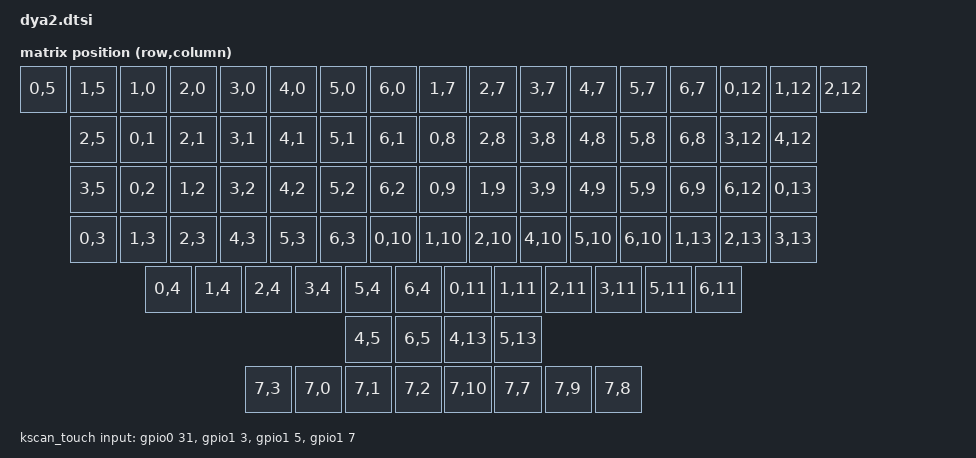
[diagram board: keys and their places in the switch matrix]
#include <behaviors/default_layer.dtsi>
#include <behaviors/animation_trigger.dtsi>

#include <dt-bindings/input/input-event-codes.h>
#include <dt-bindings/led/led.h>
#include <dt-bindings/zmk_driver_animation/animation_control.h>
#include <dt-bindings/zmk_driver_animation/animation_trigger.h>
#include <zmk_driver_animation/animation.dtsi>
#include <zmk_driver_animation/animation_layer_status.dtsi>

#include <input/processors.dtsi>
#include <input/processors/runtime-input-processor.dtsi>
#include <dt-bindings/zmk/matrix_transform.h>
#include <dt-bindings/zmk/runtime_input_processor.h>

#include "dya2-layouts.dtsi"

/ {
	chosen {
		zmk,physical-layout = &dya_layout_ansi;
		zmk,animation = &animation_control;
		zmk,animation-control = &animation_control;
	};
	
	animation: animation {
		compatible = "zmk,animation";
		drivers = <&led_strip>;
		pixels = <&pixel 0 0>,
		<&pixel 1 0>,
		<&pixel 2 0>,
		<&pixel 3 0>;
		chain-lengths = <4>;
	};
	
	animations {
		/omit-if-no-ref/ animation_control: control {
			compatible = "zmk,animation-control";
			label = "ANIMATION_CTRL_0";
			powered-animations = <&endpoint_status_animation &rainbow_animation>;
			battery-animations = <&empty_animation>;
			behavior-animations = <&battery_status_animation &endpoint_status_animation &animation_layer_status>;
			init-animation = <&init_animation>;
			activation-animation = <&battery_status_animation>;
			activation-animation-duration-ms = <1000>;
			ext-power = <&led_power>;
			default-battery-brightness = <2>;
			default-powered-brightness = <5>;
		};
		/omit-if-no-ref/ init_animation: init {
			compatible = "zmk,animation-compose";
			animations = <&battery_status_animation &black_animation &endpoint_status_animation>;
			durations-ms = <1000 200 1000>;
		};
		/omit-if-no-ref/ black_animation: black {
			compatible = "zmk,animation-solid";
			pixels = <0 1 2 3>;
			colors = <HSL(0, 0, 0)>;
		};
		
		/omit-if-no-ref/ empty_animation: empty {
			compatible = "zmk,animation-empty";
			status = "okay";
		};
		/omit-if-no-ref/ rainbow_animation: rainbow {
			compatible = "zmk,animation-solid";
			status = "okay";
			pixels = <0 1 2 3>;
			colors = <HSL(0, 100, 50) HSL(60, 100, 50) HSL(120, 100, 50) HSL(180, 100, 50) HSL(240, 100, 50) HSL(300, 100, 50)>;
		};
		/omit-if-no-ref/ red_animation: red {
			compatible = "zmk,animation-solid";
			status = "okay";
			pixels = <0 1 2 3>;
			colors = <HSL(0, 100, 50)>;
		};
		/omit-if-no-ref/ endpoint_status_animation: endpoint_status {
			compatible = "zmk,animation-endpoint";
			status = "okay";
			pixels = <0 1 2 3>;
			color-open = <HSL(60, 100, 50)>;
			color-connected = <HSL(240, 100, 50)>;
			color-disconnected = <HSL(0, 100, 50)>;
			color-usb = <HSL(120, 100, 25)>;
		};
		/omit-if-no-ref/ battery_status_animation: battery_status {
			compatible = "zmk,animation-battery-status";
			status = "okay";
			pixels = <3 2 1 0>;
			color-high = <HSL(120, 100, 50)>;// green
			color-middle = <HSL(60, 100, 50)>;// yellow
			color-low = <HSL(0, 100, 50)>;// red
		};
	};
	
	default_transform: keymap_transform_0 {
		compatible = "zmk,matrix-transform";
		columns = <14>;
		rows = <7>;
		map = <
		// (17) SW31 32 1 2 3 4 5 6 | 1 2 3 4 5 6 31 32 33
		RC(0, 5) RC(1, 5) RC(1, 0) RC(2, 0) RC(3, 0) RC(4, 0) RC(5, 0) RC(6, 0)    RC(1, 7) RC(2, 7) RC(3, 7) RC(4, 7) RC(5, 7) RC(6, 7) RC(0, 12) RC(1, 12) RC(2, 12)
		// (15) 33, 7 8 9 10 11 12 | 7 8 9 10 11 12 34 35
		RC(2, 5) RC(0, 1) RC(2, 1) RC(3, 1) RC(4, 1) RC(5, 1) RC(6, 1)            RC(0, 8) RC(2, 8) RC(3, 8) RC(4, 8) RC(5, 8) RC(6, 8) RC(3, 12) RC(4, 12)
		// (15) 34, 13 14 15 16 17 18 | 13 14 15 16 17 18 36 37
		RC(3, 5) RC(0, 2) RC(1, 2) RC(3, 2) RC(4, 2) RC(5, 2) RC(6, 2)            RC(0, 9) RC(1, 9) RC(3, 9) RC(4, 9) RC(5, 9) RC(6, 9) RC(6, 12) RC(0, 13)
		// (15) 19 20 21 22 23 24 | 19 20 21 22 23 24 38 39 40
		RC(0, 3) RC(1, 3) RC(2, 3) RC(4, 3) RC(5, 3) RC(6, 3)                    RC(0, 10) RC(1, 10) RC(2, 10) RC(4, 10) RC(5, 10) RC(6, 10) RC(1, 13) RC(2, 13) RC(3, 13)
		// (12) 25 26 27 28 29 30 | 25 26 27 28 29 30
		RC(0, 4) RC(1, 4) RC(2, 4) RC(3, 4) RC(5, 4) RC(6, 4)                    RC(0, 11) RC(1, 11) RC(2, 11) RC(3, 11) RC(5, 11) RC(6, 11)
		// Setting switches
		RC(4, 5) RC(6, 5)                                                        RC(4, 13) RC(5, 13)
		// Touches
		RC(7, 3) RC(7, 0) RC(7, 1) RC(7, 2)                                      RC(7, 10) RC(7, 7) RC(7, 9) RC(7, 8)
		>;
	};
	
	kscan0: kscan_composite {
		compatible = "zmk,kscan-composite";
		rows = <8>;// 7 + 1
		columns = <14>;
		
		// Include the matrix driver
		matrix {
			kscan = <&kscan_matrix>;
		};
		
		// Include the direct GPIO driver...
		direct {
			kscan = <&kscan_touch>;
			row-offset = <7>;// ...and shift it to not overlap
		};
		wakeup-source;
	};
	
	kscan_matrix: kscan_matrix {
		compatible = "zmk,kscan-gpio-charlieplex";
		gpios
		= <&xiao_d 3 (GPIO_ACTIVE_HIGH)>
		, <&xiao_d 4 (GPIO_ACTIVE_HIGH)>
		, <&xiao_d 6 (GPIO_ACTIVE_HIGH)>
		, <&xiao_d 7 (GPIO_ACTIVE_HIGH)>
		, <&gpio0 15 (GPIO_ACTIVE_HIGH)>
		, <&gpio0 19 (GPIO_ACTIVE_HIGH)>
		, <&gpio1  1 (GPIO_ACTIVE_HIGH)>
		;
		wakeup-source;
		interrupt-gpios = <&xiao_d 2 (GPIO_ACTIVE_HIGH | GPIO_PULL_DOWN)>;
	};
	
	kscan_touch: kscan_touch {
		compatible = "zmk,kscan-gpio-direct";
		input-gpios
		= <&gpio0  31 (GPIO_ACTIVE_LOW)>
		, <&gpio1 3 (GPIO_ACTIVE_LOW)>
		, <&gpio1 5 (GPIO_ACTIVE_LOW)>
		, <&gpio1 7 (GPIO_ACTIVE_LOW)>
		;
		// wakeup-source; // set in keymap fiel
	};
	
	led_power: led_power {
		compatible = "zmk,ext-power-transient";
		control-gpios = <&gpio0 10 (GPIO_ACTIVE_LOW)>;
	};
	
	// Disabled default. Enabled by right-trackball snippet.
	trackball_listener: trackball_listener_0 {
		compatible = "zmk,input-listener";
		status = "disabled";
		input-processors = <&mouse_runtime_input_processor &scroll_runtime_input_processor>;
	};
	
	wired_split {
		compatible = "zmk,wired-split";
		device = <&uart0>;
		half-duplex;
	};
	
	trackball_layout: trackball_layout {
		compatible = "cormoran,physical-layout-trackball";
		display-name = "Trackball";
		size = <180>;
		x = <1200>;
		y = <420>;
		
		linked-device-identifiers = "mouse", "scroll";
		linked-subsystems = "cormoran_rip", "cormoran_rip";
	};
};

&mouse_runtime_input_processor {
	// In keymap file
	// temp-layer-enabled;
	// temp-layer = <AUTO_MOUSE_L>;
};

&scroll_runtime_input_processor {
	// In keymap file
	// active-layers = <BIT(SCROLL_L)>;
	
	x-codes = <INPUT_REL_X>;
	y-codes = <INPUT_REL_Y>;
	xy-to-scroll-enabled;
	
	axis-snap-mode = <AXIS_SNAP_MODE_Y>;
	axis-snap-threshold = <600>;
};

// Use NFC pins as GPIOs
&uicr {
	nfct-pins-as-gpios;
};

//
// pinctrl for LED strip (SK6812-MINI-E)
//

&pinctrl {
	spi3_default: spi3_default {
		group1 {
			psels = <NRF_PSEL(SPIM_MOSI, 0, 9)>;
		};
	};
	
	spi3_sleep: spi3_sleep {
		group1 {
			psels = <NRF_PSEL(SPIM_MOSI, 0, 9)>;
			low-power-enable;
		};
	};
};

&spi3 {
	compatible = "nordic,nrf-spim";
	status = "okay";
	
	pinctrl-0 = <&spi3_default>;
	pinctrl-1 = <&spi3_sleep>;
	pinctrl-names = "default", "sleep";
	
	led_strip: ws2812@0 {
		compatible = "worldsemi,ws2812-spi";
		reg = <0>;
		// Note: Frequency should be between 2.5MHz to 5MHz
		// 2.5MHz: = 1sec / 0.4us
		//           where 0.4us is min (T0H max, T0L max, T1H max, T1L max)
		//                 T0H max = 0.4us, T1H max = 1.0us, T0L,T1L max = 20us
		// 5MHz: = min(1sec / 0.2us, 1sec / 1.2us * 8bit)
		//           where 0.2us is min (T0H min, T0L min, T1H min, T1L min)
		//                               T0H min = 0.2us, T1L min = 0.2us, T1H min = 0.58us, T0L min = 0.8us
		//                 1.2us is T min
		//                 8bit is because this driver builds 1frame with 8bit (spi-one-frame, spi-zero-frame)
		spi-max-frequency = <4000000>;// 4MHz = 0.25us
		
		chain-length = <4>; /* number of LEDs */
		spi-one-frame = <0x70>;// 01110000 -> T1H = 0.25 * 3 = 0.75us is between 0.58 and 1.0
		spi-zero-frame = <0x40>;// 01000000 -> T0H = 0.25us is between 0.2 and 0.4
		color-mapping = <LED_COLOR_ID_GREEN
		LED_COLOR_ID_RED
		LED_COLOR_ID_BLUE>;
	};
};

&animation_layer_status {
	pixels = <0 1 2 3>;
	default-color = <HSL(240, 100, 50)>;
	// default
	// windows blue
	// mac red
	// ios white
	// linux orange
	colors = <
	0
	HSL(193, 100, 47)
	HSL(0, 100, 40)
	HSL(0, 100, 100)
	HSL(29, 88, 51)
	>;
};

&vbatt {
	io-channels = <&adc 0>;
	power-gpios;// unset
	output-ohms = <470000>;
	full-ohms = <(1000000 + 470000)>;
	// For Ni-Mh 1U
	mv-to-pct-thresholds = <1100 1150 1200 1220 1240 1260 1280 1300 1320 1350 1400>;
};

&spi0 {
	trackball_r: trackball_r@0 {
		status = "disabled";
		reg = <0>;
	};
};

&uart0 {
	compatible = "nordic,nrf-uarte";
	current-speed = <19200>;
	status = "okay";
	pinctrl-0 = <&uart0_rx>;
	pinctrl-1 = <&uart0_sleep>;
	pinctrl-2 = <&uart0_tx>;
	pinctrl-names = "rx", "sleep", "tx";
	half-duplex;
};

&pinctrl {
	uart0_rx: uart0_rx {
		group1 {
			psels = <NRF_PSEL(UART_RX, 0, 3)>;
			bias-pull-up;
		};
		group2 {
			psels = <NRF_PSEL_DISCONNECTED(UART_TX)>;
		};
	};
	uart0_sleep: uart0_sleep {
		group1 {
			psels = <NRF_PSEL(UART_RX, 0, 3)>, <NRF_PSEL_DISCONNECTED(UART_TX)>;
			low-power-enable;
		};
	};
	uart0_tx: uart0_tx {
		group1 {
			psels = <NRF_PSEL(UART_TX, 0, 3)>;
			bias-pull-up;
		};
		group2 {
			psels = <NRF_PSEL_DISCONNECTED(UART_RX)>;
		};
	};
};

// For zephyr4.1
// Disabling default CDC ACM UART
&board_cdc_acm_uart {
	status = "disabled";
};
